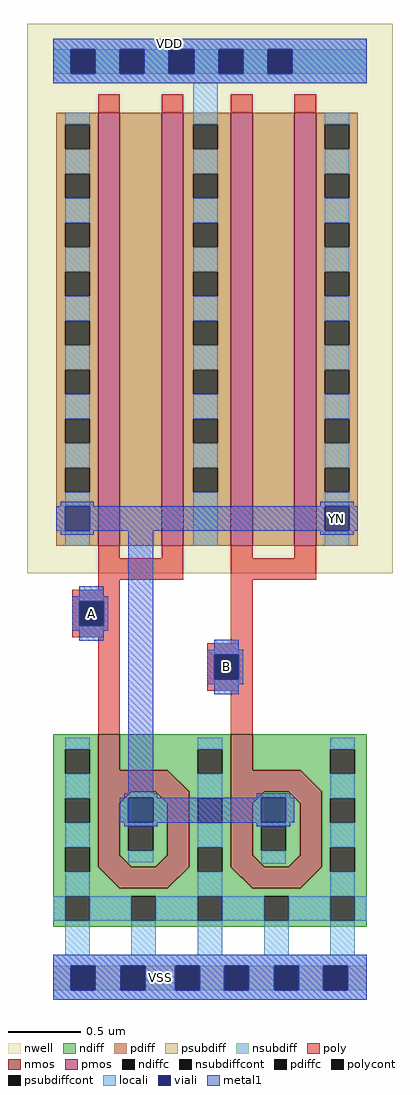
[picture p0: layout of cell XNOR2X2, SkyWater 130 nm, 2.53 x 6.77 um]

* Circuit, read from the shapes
.subckt XNOR2X2 A B VDD VSS YN
XM1 VSS A YN VSS sky130_fd_pr__nfet_01v8 w=2.475 l=0.1489
XM2 VSS B YN VSS sky130_fd_pr__nfet_01v8 w=2.475 l=0.1507
XM3 n1 A YN VDD sky130_fd_pr__pfet_01v8 w=3 l=0.15
XM4 VDD A n1 VDD sky130_fd_pr__pfet_01v8 w=3 l=0.15
XM5 n2 B VDD VDD sky130_fd_pr__pfet_01v8 w=3 l=0.15
XM6 YN B n2 VDD sky130_fd_pr__pfet_01v8 w=3 l=0.15
.ends

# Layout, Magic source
magic
tech sky130A
magscale 1 2
<< nwell >>
rect -36 591 470 1353
<< nmos >>
rect 62 318 92 368
rect 62 288 158 318
tri 158 288 188 318 sw
rect 246 318 276 368
rect 62 184 92 288
tri 92 272 108 288 nw
tri 142 272 158 288 ne
tri 92 184 108 200 sw
tri 142 184 158 200 se
rect 158 184 188 288
rect 246 288 342 318
tri 342 288 372 318 sw
tri 62 154 92 184 ne
rect 92 154 158 184
tri 158 154 188 184 nw
rect 246 184 276 288
tri 276 272 292 288 nw
tri 326 272 342 288 ne
tri 276 184 292 200 sw
tri 326 184 342 200 se
rect 342 184 372 288
tri 246 154 276 184 ne
rect 276 154 342 184
tri 342 154 372 184 nw
<< pmos >>
rect 62 629 92 1229
rect 150 629 180 1229
rect 246 629 276 1229
rect 334 629 364 1229
<< ndiff >>
rect 0 347 62 368
rect 0 313 16 347
rect 50 313 62 347
rect 92 347 246 368
rect 92 318 200 347
rect 0 279 62 313
tri 158 288 188 318 ne
rect 188 313 200 318
rect 234 313 246 347
rect 276 347 434 368
rect 276 318 384 347
rect 0 245 16 279
rect 50 245 62 279
rect 0 211 62 245
rect 0 177 16 211
rect 50 177 62 211
tri 92 272 108 288 se
rect 108 272 142 288
tri 142 272 158 288 sw
rect 92 240 158 272
rect 92 206 104 240
rect 138 206 158 240
rect 92 200 158 206
tri 92 184 108 200 ne
rect 108 184 142 200
tri 142 184 158 200 nw
rect 188 279 246 313
tri 342 288 372 318 ne
rect 372 313 384 318
rect 418 313 434 347
rect 188 245 200 279
rect 234 245 246 279
rect 188 211 246 245
rect 0 154 62 177
tri 62 154 92 184 sw
tri 158 154 188 184 se
rect 188 177 200 211
rect 234 177 246 211
tri 276 272 292 288 se
rect 292 272 326 288
tri 326 272 342 288 sw
rect 276 240 342 272
rect 276 206 288 240
rect 322 206 342 240
rect 276 200 342 206
tri 276 184 292 200 ne
rect 292 184 326 200
tri 326 184 342 200 nw
rect 372 279 434 313
rect 372 245 384 279
rect 418 245 434 279
rect 372 211 434 245
rect 188 154 246 177
tri 246 154 276 184 sw
tri 342 154 372 184 se
rect 372 177 384 211
rect 418 177 434 211
rect 372 154 434 177
rect 0 143 434 154
rect 0 109 16 143
rect 50 109 108 143
rect 142 109 200 143
rect 234 109 292 143
rect 326 109 384 143
rect 418 109 434 143
rect 0 101 434 109
<< pdiff >>
rect 4 1213 62 1229
rect 4 1179 16 1213
rect 50 1179 62 1213
rect 4 1145 62 1179
rect 4 1111 16 1145
rect 50 1111 62 1145
rect 4 1077 62 1111
rect 4 1043 16 1077
rect 50 1043 62 1077
rect 4 1009 62 1043
rect 4 975 16 1009
rect 50 975 62 1009
rect 4 941 62 975
rect 4 907 16 941
rect 50 907 62 941
rect 4 873 62 907
rect 4 839 16 873
rect 50 839 62 873
rect 4 805 62 839
rect 4 771 16 805
rect 50 771 62 805
rect 4 737 62 771
rect 4 703 16 737
rect 50 703 62 737
rect 4 629 62 703
rect 92 629 150 1229
rect 180 1213 246 1229
rect 180 1179 194 1213
rect 228 1179 246 1213
rect 180 1145 246 1179
rect 180 1111 194 1145
rect 228 1111 246 1145
rect 180 1077 246 1111
rect 180 1043 194 1077
rect 228 1043 246 1077
rect 180 1009 246 1043
rect 180 975 194 1009
rect 228 975 246 1009
rect 180 941 246 975
rect 180 907 194 941
rect 228 907 246 941
rect 180 873 246 907
rect 180 839 194 873
rect 228 839 246 873
rect 180 805 246 839
rect 180 771 194 805
rect 228 771 246 805
rect 180 737 246 771
rect 180 703 194 737
rect 228 703 246 737
rect 180 629 246 703
rect 276 629 334 1229
rect 364 1213 422 1229
rect 364 1179 376 1213
rect 410 1179 422 1213
rect 364 1145 422 1179
rect 364 1111 376 1145
rect 410 1111 422 1145
rect 364 1077 422 1111
rect 364 1043 376 1077
rect 410 1043 422 1077
rect 364 1009 422 1043
rect 364 975 376 1009
rect 410 975 422 1009
rect 364 941 422 975
rect 364 907 376 941
rect 410 907 422 941
rect 364 873 422 907
rect 364 839 376 873
rect 410 839 422 873
rect 364 805 422 839
rect 364 771 376 805
rect 410 771 422 805
rect 364 737 422 771
rect 364 703 376 737
rect 410 703 422 737
rect 364 629 422 703
<< ndiffc >>
rect 16 313 50 347
rect 200 313 234 347
rect 16 245 50 279
rect 16 177 50 211
rect 104 206 138 240
rect 384 313 418 347
rect 200 245 234 279
rect 200 177 234 211
rect 288 206 322 240
rect 384 245 418 279
rect 384 177 418 211
rect 16 109 50 143
rect 108 109 142 143
rect 200 109 234 143
rect 292 109 326 143
rect 384 109 418 143
<< pdiffc >>
rect 16 1179 50 1213
rect 16 1111 50 1145
rect 16 1043 50 1077
rect 16 975 50 1009
rect 16 907 50 941
rect 16 839 50 873
rect 16 771 50 805
rect 16 703 50 737
rect 194 1179 228 1213
rect 194 1111 228 1145
rect 194 1043 228 1077
rect 194 975 228 1009
rect 194 907 228 941
rect 194 839 228 873
rect 194 771 228 805
rect 194 703 228 737
rect 376 1179 410 1213
rect 376 1111 410 1145
rect 376 1043 410 1077
rect 376 975 410 1009
rect 376 907 410 941
rect 376 839 410 873
rect 376 771 410 805
rect 376 703 410 737
<< psubdiff >>
rect 0 13 24 47
rect 58 13 93 47
rect 127 13 169 47
rect 203 13 237 47
rect 271 13 306 47
rect 340 13 374 47
rect 408 13 434 47
<< nsubdiff >>
rect 0 1283 24 1317
rect 58 1283 92 1317
rect 126 1283 160 1317
rect 195 1283 229 1317
rect 263 1283 297 1317
rect 331 1283 434 1317
<< psubdiffcont >>
rect 24 13 58 47
rect 93 13 127 47
rect 169 13 203 47
rect 237 13 271 47
rect 306 13 340 47
rect 374 13 408 47
<< nsubdiffcont >>
rect 24 1283 58 1317
rect 92 1283 126 1317
rect 160 1283 195 1317
rect 229 1283 263 1317
rect 297 1283 331 1317
<< poly >>
rect 62 1229 92 1255
rect 150 1229 180 1255
rect 246 1229 276 1255
rect 334 1229 364 1255
rect 62 612 92 629
rect 150 612 180 629
rect 62 582 180 612
rect 246 612 276 629
rect 334 612 364 629
rect 246 582 364 612
rect 62 568 92 582
rect 26 552 92 568
rect 26 518 36 552
rect 70 518 92 552
rect 26 502 92 518
rect 62 368 92 502
rect 246 494 276 582
rect 213 478 276 494
rect 213 444 223 478
rect 257 444 276 478
rect 213 428 276 444
rect 246 368 276 428
<< polycont >>
rect 36 518 70 552
rect 223 444 257 478
<< locali >>
rect 0 1317 434 1332
rect 0 1283 24 1317
rect 58 1283 92 1317
rect 126 1283 160 1317
rect 195 1283 229 1317
rect 263 1283 297 1317
rect 331 1283 434 1317
rect 0 1270 434 1283
rect 16 1213 50 1229
rect 16 1145 50 1179
rect 16 1077 50 1111
rect 16 1009 50 1043
rect 16 941 50 975
rect 16 873 50 907
rect 16 805 50 839
rect 16 737 50 771
rect 16 684 50 703
rect 16 629 50 650
rect 194 1213 228 1270
rect 194 1145 228 1179
rect 194 1077 228 1111
rect 194 1009 228 1043
rect 194 941 228 975
rect 194 873 228 907
rect 194 805 228 839
rect 194 737 228 771
rect 194 629 228 703
rect 376 1213 410 1229
rect 376 1145 410 1179
rect 376 1077 410 1111
rect 376 1009 410 1043
rect 376 941 410 975
rect 376 873 410 907
rect 376 805 410 839
rect 376 737 410 771
rect 376 684 410 703
rect 376 629 410 650
rect 36 552 70 568
rect 36 502 70 518
rect 223 478 257 494
rect 223 428 257 444
rect 16 347 50 363
rect 16 279 50 313
rect 200 347 234 363
rect 16 211 50 245
rect 104 240 138 246
rect 104 190 138 206
rect 200 279 234 313
rect 384 347 418 363
rect 200 211 234 245
rect 16 143 50 177
rect 288 280 322 286
rect 288 240 322 246
rect 288 188 322 206
rect 384 279 418 313
rect 384 211 418 245
rect 200 143 234 177
rect 384 143 418 177
rect 0 109 16 143
rect 50 109 108 143
rect 142 109 200 143
rect 234 109 292 143
rect 326 109 384 143
rect 418 109 434 143
rect 16 62 50 109
rect 108 62 142 109
rect 200 62 234 109
rect 292 62 326 109
rect 384 62 418 109
rect 0 47 434 62
rect 0 13 24 47
rect 58 13 93 47
rect 127 13 169 47
rect 203 13 237 47
rect 271 13 306 47
rect 340 13 374 47
rect 408 13 434 47
rect 0 0 434 13
<< viali >>
rect 24 1283 58 1317
rect 92 1283 126 1317
rect 160 1283 195 1317
rect 229 1283 263 1317
rect 297 1283 331 1317
rect 16 650 50 684
rect 376 650 410 684
rect 36 518 70 552
rect 223 444 257 478
rect 104 246 138 280
rect 288 246 322 280
rect 24 13 58 47
rect 93 13 127 47
rect 169 13 203 47
rect 237 13 271 47
rect 306 13 340 47
rect 374 13 408 47
<< metal1 >>
rect 0 1317 434 1332
rect 0 1283 24 1317
rect 58 1283 92 1317
rect 126 1283 160 1317
rect 195 1283 229 1317
rect 263 1283 297 1317
rect 331 1283 434 1317
rect 0 1270 434 1283
rect 10 684 56 690
rect 370 684 416 690
rect 4 650 16 684
rect 50 650 376 684
rect 410 650 422 684
rect 10 644 56 650
rect 36 559 70 573
rect 26 552 76 559
rect 26 518 36 552
rect 70 518 76 552
rect 26 511 76 518
rect 36 497 70 511
rect 104 286 138 650
rect 370 644 416 650
rect 223 485 257 499
rect 213 478 263 485
rect 213 444 223 478
rect 257 444 263 478
rect 213 437 263 444
rect 223 423 257 437
rect 98 280 144 286
rect 282 280 328 286
rect 92 246 104 280
rect 138 246 288 280
rect 322 246 334 280
rect 98 245 328 246
rect 98 240 144 245
rect 282 240 328 245
rect 0 47 434 62
rect 0 13 24 47
rect 58 13 93 47
rect 127 13 169 47
rect 203 13 237 47
rect 271 13 306 47
rect 340 13 374 47
rect 408 13 434 47
rect 0 0 434 13
<< labels >>
rlabel metal1 161 1325 161 1325 1 VDD
rlabel metal1 148 31 148 31 1 VSS
rlabel metal1 36 518 70 552 1 A
rlabel metal1 223 444 257 478 1 B
rlabel metal1 376 650 410 684 1 YN
<< end >>
